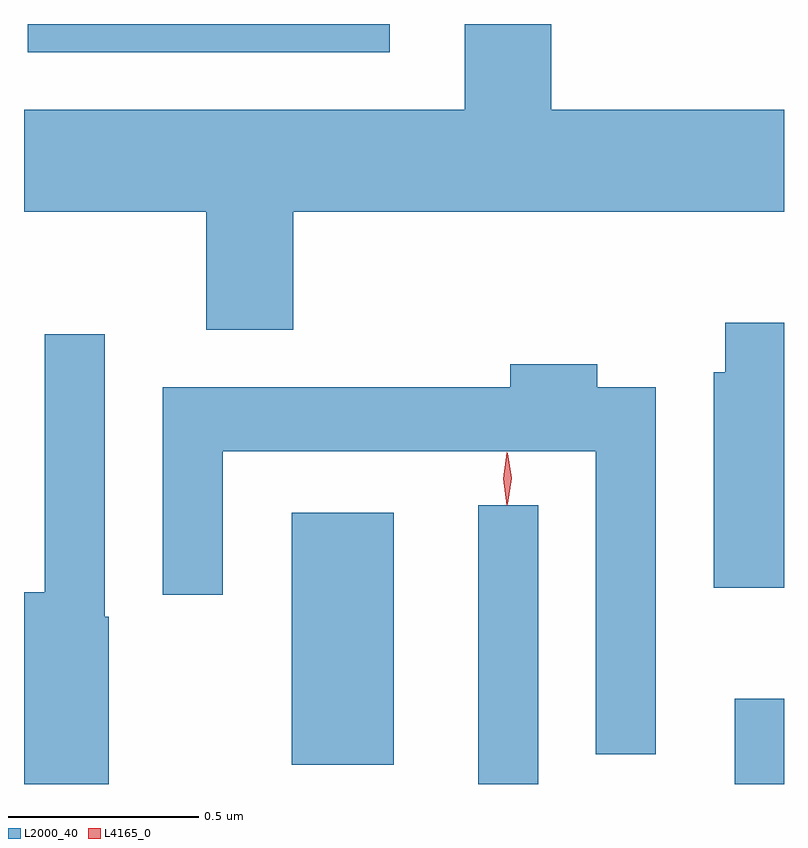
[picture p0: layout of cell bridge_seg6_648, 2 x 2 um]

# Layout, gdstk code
import gdstk
lib = gdstk.Library(unit=1e-6, precision=1e-09)
def R(c, l, rs):  # rectangles x0, y0, x1, y1
    for r in rs: c.add(gdstk.rectangle(r[:2], r[2:], *l))
def P(c, l, *ps):  # polygons
    for p in ps: c.add(gdstk.Polygon(p, *l))
L2000_40 = (2000, 40)
L4165_0 = (4165, 0)

bridge_seg6_648 = lib.new_cell('bridge_seg6_648')
R(bridge_seg6_648, L2000_40, [(522.116,1630.67,522.274,1631.403), (522.791,1630.67,522.921,1630.894), (521.626,1630.721,521.894,1631.384), (520.931,1632.596,521.884,1632.67)])
P(bridge_seg6_648, L2000_40, [(521.629,1632.176),(522.921,1632.176),(522.921,1632.444),(522.309,1632.444),(522.309,1632.67),(522.081,1632.67),(522.081,1632.444),(520.921,1632.444),(520.921,1632.176),(521.401,1632.176),(521.401,1631.866),(521.629,1631.866)],
  [(522.921,1631.884),(522.766,1631.884),(522.766,1631.754),(522.736,1631.754),(522.736,1631.186),(522.921,1631.186)],
  [(521.144,1631.11),(521.134,1631.11),(521.134,1631.853),(520.976,1631.853),(520.976,1631.174),(520.921,1631.174),(520.921,1630.67),(521.144,1630.67)],
  [(522.584,1631.714),(522.429,1631.714),(522.429,1631.774),(522.201,1631.774),(522.201,1631.714),(521.286,1631.714),(521.286,1631.168),(521.444,1631.168),(521.444,1631.546),(522.426,1631.546),(522.426,1630.748),(522.584,1630.748)])
P(bridge_seg6_648, L4165_0, [(522.192,1631.404),(522.192,1631.404),(522.182,1631.473),(522.192,1631.542),(522.192,1631.543),(522.193,1631.542),(522.202,1631.473),(522.193,1631.404)],
  [(522.193,1631.407),(522.184,1631.474),(522.193,1631.54),(522.194,1631.54),(522.194,1631.54),(522.204,1631.474),(522.194,1631.407),(522.194,1631.407)])

lib.write_gds('bridge_seg6_648.gds')
